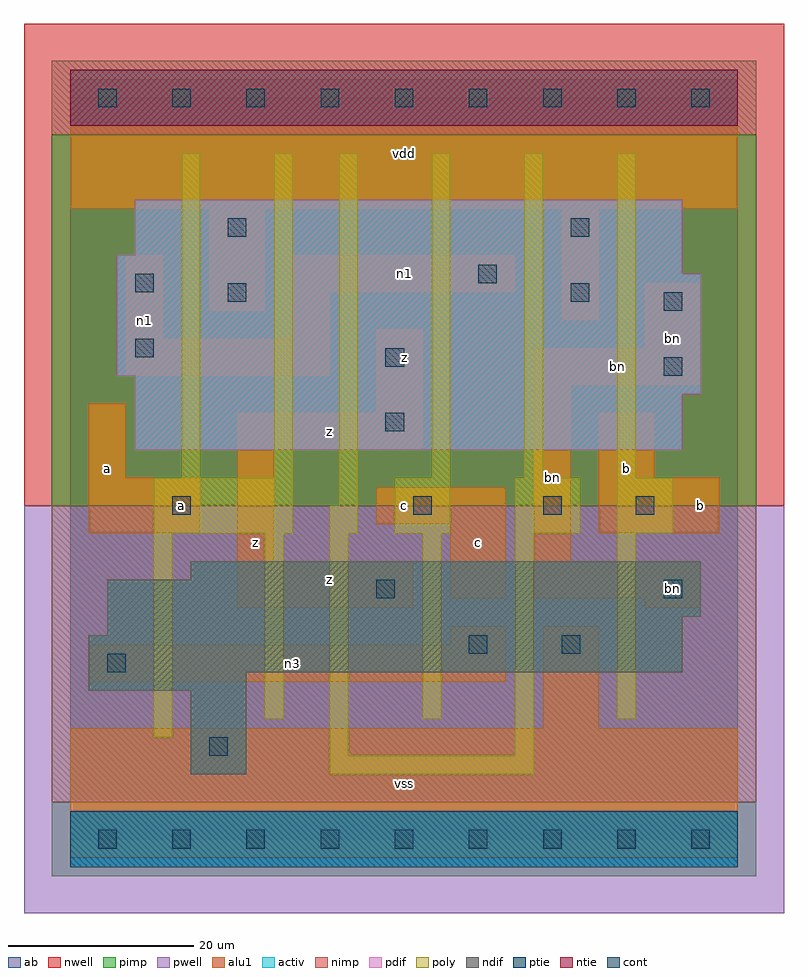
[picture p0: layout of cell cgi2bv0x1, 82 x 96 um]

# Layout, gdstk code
import gdstk
lib = gdstk.Library(unit=1e-6, precision=1e-09)
def R(c, l, rs):  # rectangles x0, y0, x1, y1
    for r in rs: c.add(gdstk.rectangle(r[:2], r[2:], *l))
def A(c, l, x, y, w, h, nx, ny, dx, dy):  # array of equal rectangles
    R(c, l, [(x+i*dx, y+j*dy, x+i*dx+w, y+j*dy+h) for i in range(nx) for j in range(ny)])
ndif = (3, 0)
pdif = (4, 0)
ntie = (5, 0)
ptie = (6, 0)
cont = (25, 0)
pwell = (41, 0)
nwell = (42, 0)
activ = (43, 0)
pimp = (44, 0)
nimp = (45, 0)
poly = (46, 0)
alu1 = (49, 0)
ab = (63, 0)

cgi2bv0x1 = lib.new_cell('cgi2bv0x1')
R(cgi2bv0x1, ndif, [(13,7,19,16), (2,16,19,18), (2,18,66,22), (4,22,66,24), (4,24,68,28), (13,28,68,30)])
R(cgi2bv0x1, pdif, [(7,42,66,48), (7,48,68,50), (5,50,68,61), (5,61,66,63), (7,63,66,69)])
R(cgi2bv0x1, ntie, [(0,77,72,83)])
R(cgi2bv0x1, ptie, [(0,-3,72,3)])
A(cgi2bv0x1, cont, 3, -1, 2, 2, 9, 2, 8, 80)
R(cgi2bv0x1, cont, [(15,9,17,11), (4,18,6,20), (43,20,45,22), (53,20,55,22), (33,26,35,28), (64,26,66,28), (11,35,13,37), (37,35,39,37), (51,35,53,37), (61,35,63,37), (34,44,36,46), (64,50,66,52), (34,51,36,53), (7,52,9,54), (64,57,66,59), (17,58,19,60), (54,58,56,60), (7,59,9,61), (44,60,46,62), (17,65,19,67), (54,65,56,67)])
R(cgi2bv0x1, pwell, [(-5,-8,77,36)])
R(cgi2bv0x1, nwell, [(-5,36,77,88)])
R(cgi2bv0x1, activ, [(0,-3,72,3), (13,7,19,16), (2,16,19,18), (2,18,66,22), (4,22,66,24), (4,24,68,28), (13,28,68,30), (7,42,66,48), (7,48,68,50), (5,50,68,61), (5,61,66,63), (7,63,66,69), (0,77,72,83)])
R(cgi2bv0x1, pimp, [(-2,-4,74,4), (-2,36,74,76)])
R(cgi2bv0x1, nimp, [(-2,4,74,36), (-2,76,74,84)])
A(cgi2bv0x1, poly, 39, 39, 2, 35, 3, 1, 10, 0)
R(cgi2bv0x1, poly, [(28,7,50,9), (28,9,30,33), (48,9,50,33), (9,11,11,33), (21,13,23,33), (38,13,40,33), (59,13,61,33), (9,33,24,39), (28,33,31,36), (35,33,41,39), (48,33,55,39), (59,33,65,39), (29,36,31,74), (12,39,14,74), (22,39,24,74)])
R(cgi2bv0x1, alu1, [(0,-2,72,12), (51,12,57,23), (2,17,47,21), (41,21,47,23), (18,25,37,30), (62,25,68,26), (41,26,47,34), (50,26,68,30), (18,30,22,42), (50,30,54,49), (2,33,14,39), (57,33,70,39), (33,34,47,38), (2,39,6,47), (57,39,63,46), (18,42,38,46), (33,46,38,55), (50,49,68,53), (6,50,28,54), (62,53,68,60), (6,54,10,63), (24,54,28,59), (53,56,57,68), (15,57,21,68), (24,59,48,63), (0,68,72,82)])
R(cgi2bv0x1, ab, [(0,0,72,80)])
cgi2bv0x1.add(gdstk.Label('n1', (8,56), layer=49, texttype=0))
cgi2bv0x1.add(gdstk.Label('n3', (24,19), layer=49, texttype=0))
cgi2bv0x1.add(gdstk.Label('n1', (36,61), layer=49, texttype=0))
cgi2bv0x1.add(gdstk.Label('bn', (65,27), layer=49, texttype=0))
cgi2bv0x1.add(gdstk.Label('bn', (52,39), layer=49, texttype=0))
cgi2bv0x1.add(gdstk.Label('bn', (59,51), layer=49, texttype=0))
cgi2bv0x1.add(gdstk.Label('bn', (65,54), layer=49, texttype=0))
cgi2bv0x1.add(gdstk.Label('a', (12,36), layer=49, texttype=0))
cgi2bv0x1.add(gdstk.Label('a', (4,40), layer=49, texttype=0))
cgi2bv0x1.add(gdstk.Label('z', (20,32), layer=49, texttype=0))
cgi2bv0x1.add(gdstk.Label('z', (28,28), layer=49, texttype=0))
cgi2bv0x1.add(gdstk.Label('z', (28,44), layer=49, texttype=0))
cgi2bv0x1.add(gdstk.Label('vss', (36,6), layer=49, texttype=0))
cgi2bv0x1.add(gdstk.Label('c', (36,36), layer=49, texttype=0))
cgi2bv0x1.add(gdstk.Label('c', (44,32), layer=49, texttype=0))
cgi2bv0x1.add(gdstk.Label('z', (36,52), layer=49, texttype=0))
cgi2bv0x1.add(gdstk.Label('vdd', (36,74), layer=49, texttype=0))
cgi2bv0x1.add(gdstk.Label('b', (68,36), layer=49, texttype=0))
cgi2bv0x1.add(gdstk.Label('b', (60,40), layer=49, texttype=0))

lib.write_gds('cgi2bv0x1.gds')
